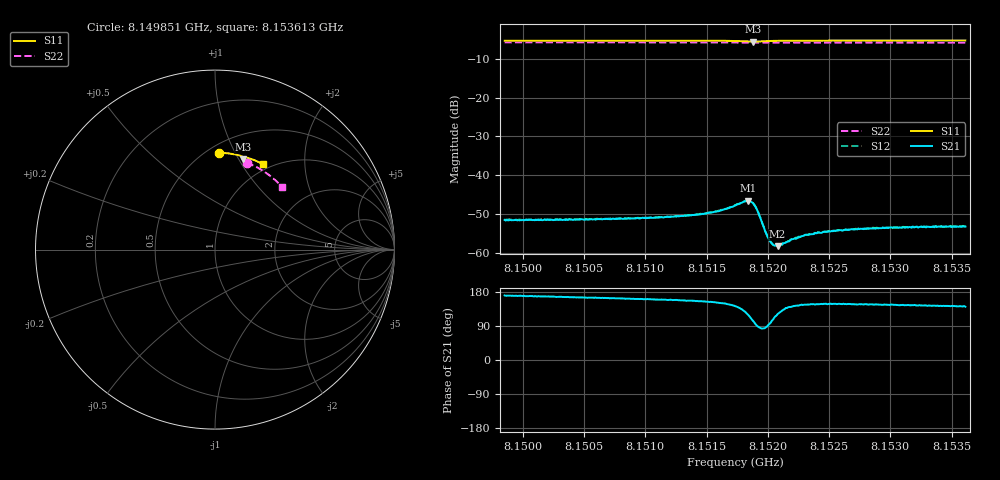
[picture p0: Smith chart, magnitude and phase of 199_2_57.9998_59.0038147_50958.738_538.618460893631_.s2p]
#  HZ  S  RI  R  50.00
! Rohde & Schwarz Vector Network Analyzer
! Rohde-Schwarz,ZNB20-2Port,1311601062101988,3.16
! Created: UTC 3/21/2024, 12:59:10 AM
! freq[Hz]  re:S11  im:S11  re:S21  im:S21  re:S12  im:S12  re:S22  im:S22
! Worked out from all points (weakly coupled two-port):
!   401 points, 8.149851 GHz to 8.153613 GHz, reference 50 ohm
!   highest |S21| = -46.52 dB at 8.151836 GHz (marker M1); lowest = -58.3 dB at 8.15208 GHz (marker M2)
!   lowest |S11| = -5.6 dB at 8.151883 GHz (marker M3), VSWR 3.22, Z = 37.4 + j52.1 ohm
!   |S11| at or under -10 dB: nowhere
!   |S22| runs from -5.8 to -5.7 dB; largest |S21 - S12| = 0.00013
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8.1498514e9  0.0204 0.5397  -0.00263 0.000441  -0.00262 0.000502  0.177 0.4846
8.1504815e9  0.0646 0.5372  -0.00263 0.000701  -0.0026 0.000729  0.2144 0.4685
8.1511116e9  0.1087 0.5309  -0.00268 0.00101  -0.00269 0.00108  0.2503 0.4494
8.1513561e9  0.126 0.5272  -0.0028 0.00121  -0.00279 0.00124  0.2638 0.4413
8.1514784e9  0.1351 0.5248  -0.00288 0.00137  -0.00292 0.00145  0.2706 0.437
8.1515912e9  0.1437 0.5221  -0.00302 0.00166  -0.00303 0.00173  0.2766 0.4329
8.1517323e9  0.1549 0.5161  -0.00324 0.0025  -0.00321 0.00256  0.2841 0.4278
8.1518357e9  0.1595 0.5062  -0.00239 0.00407  -0.00235 0.0041  0.2893 0.4237
8.1518639e9  0.1575 0.5036  -0.0015 0.00431  -0.00147 0.00437  0.2905 0.4226
8.1518827e9  0.1554 0.5032  -0.000896 0.00422  -0.000778 0.00426  0.2914 0.422
8.1519016e9  0.1536 0.504  -0.000261 0.00388  -0.000225 0.0039  0.2923 0.4214
8.1519204e9  0.1525 0.5056  0.000103 0.00335  0.000194 0.0034  0.2932 0.4207
8.1519862e9  0.1555 0.5119  9.09e-05 0.00179  0.000116 0.00179  0.2967 0.4184
8.1520144e9  0.1582 0.5133  -0.000141 0.00144  -0.000133 0.00144  0.2981 0.4176
8.1520426e9  0.161 0.514  -0.000365 0.00123  -0.000351 0.00123  0.2998 0.4163
8.1520802e9  0.1646 0.5143  -0.000634 0.00105  -0.000644 0.00108  0.3016 0.4151
8.1522025e9  0.1751 0.5131  -0.00118 0.000943  -0.00115 0.000963  0.3082 0.4102
8.1522965e9  0.1824 0.5114  -0.00139 0.000937  -0.00139 0.00096  0.3127 0.4064
8.1523624e9  0.1872 0.5099  -0.00146 0.000946  -0.00147 0.000988  0.3161 0.404
8.1525787e9  0.2023 0.5049  -0.00167 0.00103  -0.00165 0.00108  0.3266 0.3949
8.1529925e9  0.2294 0.494  -0.00175 0.00121  -0.00176 0.00121  0.3462 0.3771
8.1536132e9  0.2684 0.4751  -0.00169 0.00139  -0.00169 0.0014  0.3736 0.3488
